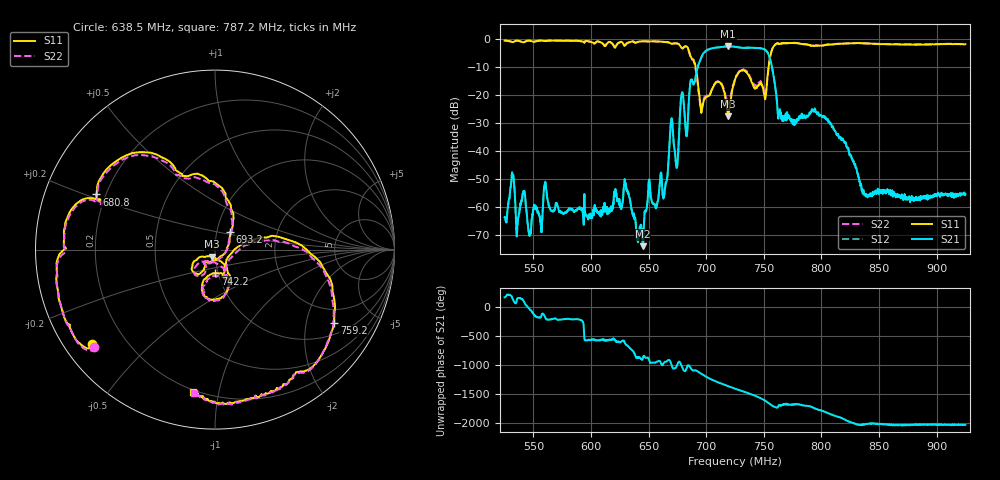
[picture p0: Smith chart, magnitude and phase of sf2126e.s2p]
!HP8753
# HZ S RI R 50
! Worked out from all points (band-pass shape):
!   1601 points, 525 MHz to 925 MHz, reference 50 ohm
!   highest |S21| = -2.55 dB at 719 MHz (marker M1); lowest = -74.2 dB at 645 MHz (marker M2)
!   |S21| within 3 dB of the highest: 696.8 MHz to 754.3 MHz (57.45 MHz wide, 7.92 % of centre)
!   lowest |S11| = -27.6 dB at 719 MHz (marker M3), VSWR 1.09, Z = 48.3 - j3.72 ohm
!   |S11| at or under -10 dB: 690.8 MHz to 754.2 MHz (63.4 MHz wide, 8.78 % of centre)
!   |S22| runs from -25.1 to -0.4 dB; largest |S21 - S12| = 0.0036
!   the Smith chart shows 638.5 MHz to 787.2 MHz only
!   S11 on the Smith chart (normalised r, x): 638.5 MHz: 0.08, -0.34; 680.8 MHz: 0.16, +0.22; 693.2 MHz: 1.16, +0.24; 742.2 MHz: 0.97, -0.26; 759.2 MHz: 1.41, -2.92; 787.2 MHz: 0.19, -0.84
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5.25e8  -0.2957 -0.897  -0.000625 0.000161  -0.000626 0.000164  -0.291 -0.9032
5.3175e8  -0.3019 -0.8402  -0.00333 0.002  -0.0033 0.00205  -0.2896 -0.8427
5.465e8  -0.3633 -0.8711  0.000266 -0.000186  0.000258 -0.000178  -0.3563 -0.8799
5.605e8  -0.4003 -0.8373  -0.0027 0.000415  -0.00268 0.000472  -0.39 -0.8448
5.9175e8  -0.5779 -0.7141  -0.000557 0.000684  -0.000563 0.000683  -0.5675 -0.724
6.3025e8  -0.5602 -0.5871  0.000714 0.00239  0.000736 0.00237  -0.5506 -0.5975
6.385e8  -0.6829 -0.5247  -0.000295 -0.00053  -0.000275 -0.000519  -0.6736 -0.5411
6.45e8  -0.7741 -0.5021  -0.00019 -4.94e-05  -0.000198 -6.79e-05  -0.7668 -0.5165
6.585e8  -0.8677 -0.2824  -0.00125 0.000672  -0.00124 0.000668  -0.8625 -0.2985
6.8075e8  -0.661 0.3075  0.0596 -0.0163  0.0591 -0.0165  -0.6588 0.2938
6.9325e8  0.085 0.1007  0.277 -0.2154  0.2763 -0.2167  0.0805 0.0833
7.0625e8  -0.0723 -0.1224  -0.6972 0.0225  -0.698 0.0247  -0.057 -0.1323
7.19e8  -0.0159 -0.0384  0.1435 0.7314  0.1454 0.7314  -0.0202 -0.0652
7.25e8  0.0857 -0.1669  0.5917 0.434  0.5927 0.434  0.0816 -0.1801
7.4225e8  0.00191 -0.1328  0.0622 -0.6991  0.0609 -0.6997  0.0051 -0.1478
7.51e8  0.064 -0.0558  -0.6371 -0.1367  -0.6379 -0.1357  0.072 -0.0685
7.5925e8  0.6638 -0.4076  0.0191 0.1759  0.0191 0.1751  0.6596 -0.4187
7.8725e8  -0.1212 -0.7914  -0.00829 0.042  -0.00817 0.0423  -0.1188 -0.7991
7.9175e8  -0.1466 -0.747  0.0075 0.055  0.0079 0.0552  -0.1424 -0.7603
8.3775e8  -0.4266 -0.7362  -0.00132 0.000991  -0.00134 0.00101  -0.413 -0.7489
8.585e8  -0.473 -0.6593  -0.00121 0.00143  -0.00118 0.00143  -0.4645 -0.6783
9.25e8  -0.6141 -0.5372  -0.00119 0.0012  -0.00114 0.00125  -0.5993 -0.5577
